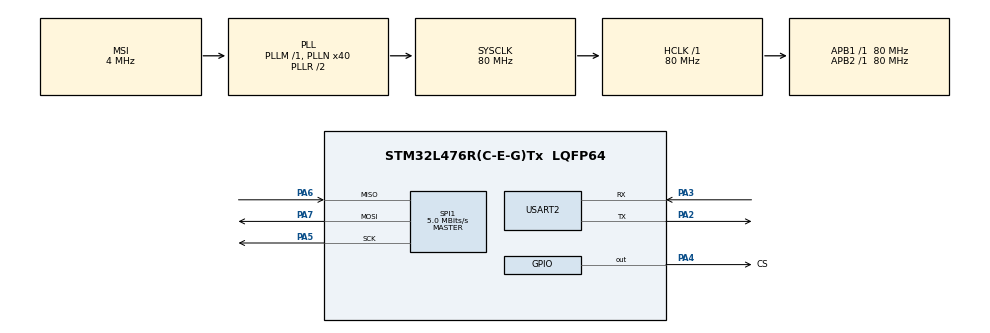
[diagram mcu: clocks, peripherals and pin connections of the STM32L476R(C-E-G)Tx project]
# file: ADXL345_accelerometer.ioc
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Mcu.Family=STM32L4
Mcu.Name=STM32L476R(C-E-G)Tx
Mcu.Package=LQFP64
NVIC.PriorityGroup=NVIC_PRIORITYGROUP_4
PA13\ (JTMS-SWDIO).Mode=Serial_Wire
PA13\ (JTMS-SWDIO).Signal=SYS_JTMS-SWDIO
PA14\ (JTCK-SWCLK).Mode=Serial_Wire
PA14\ (JTCK-SWCLK).Signal=SYS_JTCK-SWCLK
PA2.Mode=Asynchronous
PA2.Signal=USART2_TX
PA3.Mode=Asynchronous
PA3.Signal=USART2_RX
PA4.GPIO_Label=CS
PA4.PinState=GPIO_PIN_RESET
PA4.Signal=GPIO_Output
PA5.Mode=Full_Duplex_Master
PA5.Signal=SPI1_SCK
PA6.Mode=Full_Duplex_Master
PA6.Signal=SPI1_MISO
PA7.Mode=Full_Duplex_Master
PA7.Signal=SPI1_MOSI
ProjectManager.HeapSize=0x200
ProjectManager.StackSize=0x400
ProjectManager.TargetToolchain=STM32CubeIDE
RCC.AHBFreq_Value=80000000
RCC.APB1Freq_Value=80000000
RCC.APB1TimFreq_Value=80000000
RCC.APB2Freq_Value=80000000
RCC.APB2TimFreq_Value=80000000
RCC.CortexFreq_Value=80000000
RCC.HCLKFreq_Value=80000000
RCC.HSE_VALUE=8000000
RCC.HSI_VALUE=16000000
RCC.LSE_VALUE=32768
RCC.MSI_VALUE=4000000
RCC.PLLN=40
RCC.SYSCLKFreq_VALUE=80000000
RCC.SYSCLKSource=RCC_SYSCLKSOURCE_PLLCLK
RCC.VCOOutputFreq_Value=160000000
SPI1.BaudRatePrescaler=SPI_BAUDRATEPRESCALER_16
SPI1.CLKPhase=SPI_PHASE_2EDGE
SPI1.CLKPolarity=SPI_POLARITY_HIGH
SPI1.CalculateBaudRate=5.0 MBits/s
SPI1.DataSize=SPI_DATASIZE_8BIT
SPI1.Direction=SPI_DIRECTION_2LINES
SPI1.Mode=SPI_MODE_MASTER
SPI1.VirtualType=VM_MASTER
USART2.VirtualMode-Asynchronous=VM_ASYNC
board=custom

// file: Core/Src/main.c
/* USER CODE BEGIN Header */
/**
  ******************************************************************************
  * @file           : main.c
  * @brief          : Main program body
  ******************************************************************************
  * @attention
  *
  * Copyright (c) 2025 STMicroelectronics.
  * All rights reserved.
  *
  * This software is licensed under terms that can be found in the LICENSE file
  * in the root directory of this software component.
  * If no LICENSE file comes with this software, it is provided AS-IS.
  *
  ******************************************************************************
  */
/* USER CODE END Header */
#include "main.h"

/* USER CODE BEGIN Includes */
#include <string.h>
#include <stdio.h>
#include <stdbool.h>
#include "stm32l4xx_hal.h"

/* USER CODE END Includes */

SPI_HandleTypeDef hspi1;

UART_HandleTypeDef huart2;

/* USER CODE BEGIN PV */

#define TX_BUF_SIZE   128
char tx_buf[TX_BUF_SIZE];
uint16_t tx_len;

/* USER CODE END PV */

void SystemClock_Config(void);
static void MX_GPIO_Init(void);
static void MX_USART2_UART_Init(void);
static void MX_SPI1_Init(void);
/* USER CODE BEGIN PFP */

// Rejestry ADXL345
#define ADXL345_DEVID       0x00
#define ADXL345_POWER_CTL   0x2D
#define ADXL345_DATA_FORMAT 0x31
#define ADXL345_DATAX0      0x32
#define ADXL345_READ        0x80
#define ADXL345_MULTI       0x40

/* USER CODE END PFP */

/* USER CODE BEGIN 0 */
int __io_putchar(int ch)
{
    if (ch == '\n') {
        uint8_t ch2 = '\r';
        HAL_UART_Transmit(&huart2, &ch2, 1, HAL_MAX_DELAY);
    }

    HAL_UART_Transmit(&huart2, (uint8_t*)&ch, 1, HAL_MAX_DELAY);
    return 1;
}

/* Funkcje pomocnicze */
// Funkcje CS
static void CS_Select(void)   { HAL_GPIO_WritePin(GPIOA, GPIO_PIN_4, GPIO_PIN_RESET); }
static void CS_Deselect(void) { HAL_GPIO_WritePin(GPIOA, GPIO_PIN_4, GPIO_PIN_SET); }

// Zapis do rejestru
void ADXL345_Write(uint8_t reg, uint8_t value) {
    uint8_t buf[2] = { reg, value };
    CS_Select();
    HAL_SPI_Transmit(&hspi1, buf, 2, HAL_MAX_DELAY);
    CS_Deselect();
}

// Odczyt wielobajtowy
void ADXL345_Read(uint8_t reg, uint8_t *data, uint8_t len) {
    reg |= ADXL345_READ | ADXL345_MULTI;
    CS_Select();
    HAL_SPI_Transmit(&hspi1, &reg, 1, HAL_MAX_DELAY);
    HAL_SPI_Receive(&hspi1, data, len, HAL_MAX_DELAY);
    CS_Deselect();
}

// Inicjalizacja ADXL345
void ADXL345_Init(void) {
    // Sprawdzenie ID
    uint8_t id;
    ADXL345_Read(ADXL345_DEVID, &id, 1);
    // Ustawienie ±4g
    ADXL345_Write(ADXL345_DATA_FORMAT, 0x01);
    // Uaktywnienie pomiarów
    ADXL345_Write(ADXL345_POWER_CTL, 0x08);
}

// Pobranie danych
void ADXL345_GetXYZ(int16_t *x, int16_t *y, int16_t *z) {
    uint8_t buf[6];
    ADXL345_Read(ADXL345_DATAX0, buf, 6);
    *x = (int16_t)((buf[1] << 8) | buf[0]);
    *y = (int16_t)((buf[3] << 8) | buf[2]);
    *z = (int16_t)((buf[5] << 8) | buf[4]);
}

/* USER CODE END 0 */

int main(void)
{

  /* MCU Configuration--------------------------------------------------------*/

  /* Reset of all peripherals, Initializes the Flash interface and the Systick. */
  HAL_Init();

  /* Configure the system clock */
  SystemClock_Config();

  /* Initialize all configured peripherals */
  MX_GPIO_Init();
  MX_USART2_UART_Init();
  MX_SPI1_Init();
  /* USER CODE BEGIN 2 */

  ADXL345_Init();
  int16_t x, y, z;

  /* USER CODE END 2 */

  /* Infinite loop */
  /* USER CODE BEGIN WHILE */
  while (1)
  {
	  ADXL345_GetXYZ(&x, &y, &z);
	  printf("%d,%d,%d\r\n", x, y, z);
	  HAL_Delay(20);
//	  ADXL345_GetXYZ(&x, &y, &z);
//	  tx_len = snprintf(tx_buf, TX_BUF_SIZE, "X:%d Y:%d Z:%d\r\n", x, y, z);
//	  HAL_UART_Transmit_DMA(&huart2, (uint8_t*)tx_buf, tx_len);
//	  HAL_Delay(100);

    /* USER CODE END WHILE */

  }
}

void SystemClock_Config(void)
{
  RCC_OscInitTypeDef RCC_OscInitStruct = {0};
  RCC_ClkInitTypeDef RCC_ClkInitStruct = {0};

  /** Configure the main internal regulator output voltage
  */
  if (HAL_PWREx_ControlVoltageScaling(PWR_REGULATOR_VOLTAGE_SCALE1) != HAL_OK)
  {
    Error_Handler();
  }

  /** Initializes the RCC Oscillators according to the specified parameters
  * in the RCC_OscInitTypeDef structure.
  */
  RCC_OscInitStruct.OscillatorType = RCC_OSCILLATORTYPE_MSI;
  RCC_OscInitStruct.MSIState = RCC_MSI_ON;
  RCC_OscInitStruct.MSICalibrationValue = 0;
  RCC_OscInitStruct.MSIClockRange = RCC_MSIRANGE_6;
  RCC_OscInitStruct.PLL.PLLState = RCC_PLL_ON;
  RCC_OscInitStruct.PLL.PLLSource = RCC_PLLSOURCE_MSI;
  RCC_OscInitStruct.PLL.PLLM = 1;
  RCC_OscInitStruct.PLL.PLLN = 40;
  RCC_OscInitStruct.PLL.PLLP = RCC_PLLP_DIV7;
  RCC_OscInitStruct.PLL.PLLQ = RCC_PLLQ_DIV2;
  RCC_OscInitStruct.PLL.PLLR = RCC_PLLR_DIV2;
  if (HAL_RCC_OscConfig(&RCC_OscInitStruct) != HAL_OK)
  {
    Error_Handler();
  }

  /** Initializes the CPU, AHB and APB buses clocks
  */
  RCC_ClkInitStruct.ClockType = RCC_CLOCKTYPE_HCLK|RCC_CLOCKTYPE_SYSCLK
                              |RCC_CLOCKTYPE_PCLK1|RCC_CLOCKTYPE_PCLK2;
  RCC_ClkInitStruct.SYSCLKSource = RCC_SYSCLKSOURCE_PLLCLK;
  RCC_ClkInitStruct.AHBCLKDivider = RCC_SYSCLK_DIV1;
  RCC_ClkInitStruct.APB1CLKDivider = RCC_HCLK_DIV1;
  RCC_ClkInitStruct.APB2CLKDivider = RCC_HCLK_DIV1;

  if (HAL_RCC_ClockConfig(&RCC_ClkInitStruct, FLASH_LATENCY_4) != HAL_OK)
  {
    Error_Handler();
  }
}

static void MX_SPI1_Init(void)
{

  /* SPI1 parameter configuration*/
  hspi1.Instance = SPI1;
  hspi1.Init.Mode = SPI_MODE_MASTER;
  hspi1.Init.Direction = SPI_DIRECTION_2LINES;
  hspi1.Init.DataSize = SPI_DATASIZE_8BIT;
  hspi1.Init.CLKPolarity = SPI_POLARITY_HIGH;
  hspi1.Init.CLKPhase = SPI_PHASE_2EDGE;
  hspi1.Init.NSS = SPI_NSS_SOFT;
  hspi1.Init.BaudRatePrescaler = SPI_BAUDRATEPRESCALER_16;
  hspi1.Init.FirstBit = SPI_FIRSTBIT_MSB;
  hspi1.Init.TIMode = SPI_TIMODE_DISABLE;
  hspi1.Init.CRCCalculation = SPI_CRCCALCULATION_DISABLE;
  hspi1.Init.CRCPolynomial = 7;
  hspi1.Init.CRCLength = SPI_CRC_LENGTH_DATASIZE;
  hspi1.Init.NSSPMode = SPI_NSS_PULSE_DISABLE;
  if (HAL_SPI_Init(&hspi1) != HAL_OK)
  {
    Error_Handler();
  }

}

static void MX_USART2_UART_Init(void)
{

  huart2.Instance = USART2;
  huart2.Init.BaudRate = 115200;
  huart2.Init.WordLength = UART_WORDLENGTH_8B;
  huart2.Init.StopBits = UART_STOPBITS_1;
  huart2.Init.Parity = UART_PARITY_NONE;
  huart2.Init.Mode = UART_MODE_TX_RX;
  huart2.Init.HwFlowCtl = UART_HWCONTROL_NONE;
  huart2.Init.OverSampling = UART_OVERSAMPLING_16;
  huart2.Init.OneBitSampling = UART_ONE_BIT_SAMPLE_DISABLE;
  huart2.AdvancedInit.AdvFeatureInit = UART_ADVFEATURE_NO_INIT;
  if (HAL_UART_Init(&huart2) != HAL_OK)
  {
    Error_Handler();
  }

}

static void MX_GPIO_Init(void)
{
  GPIO_InitTypeDef GPIO_InitStruct = {0};

  /* GPIO Ports Clock Enable */
  __HAL_RCC_GPIOA_CLK_ENABLE();

  /*Configure GPIO pin Output Level */
  HAL_GPIO_WritePin(CS_GPIO_Port, CS_Pin, GPIO_PIN_RESET);

  /*Configure GPIO pin : CS_Pin */
  GPIO_InitStruct.Pin = CS_Pin;
  GPIO_InitStruct.Mode = GPIO_MODE_OUTPUT_PP;
  GPIO_InitStruct.Pull = GPIO_NOPULL;
  GPIO_InitStruct.Speed = GPIO_SPEED_FREQ_LOW;
  HAL_GPIO_Init(CS_GPIO_Port, &GPIO_InitStruct);

}

void Error_Handler(void)
{
  __disable_irq();
  while (1)
  {
  }
}
